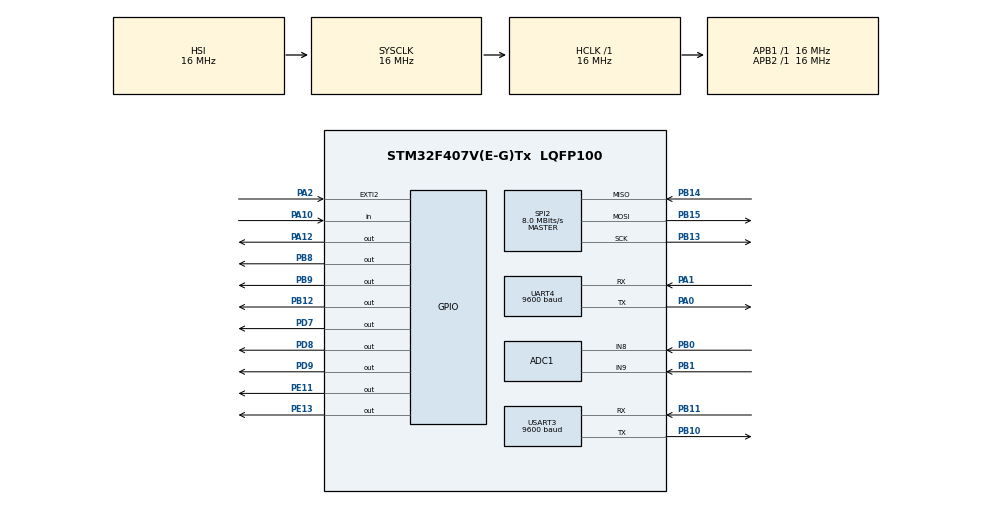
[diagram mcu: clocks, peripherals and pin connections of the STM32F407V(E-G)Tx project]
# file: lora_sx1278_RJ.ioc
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ADC1.Channel-0\#ChannelRegularConversion=ADC_CHANNEL_9
ADC1.NbrOfConversionFlag=1
ADC1.Rank-0\#ChannelRegularConversion=1
ADC1.SamplingTime-0\#ChannelRegularConversion=ADC_SAMPLETIME_480CYCLES
ADC1.ScanConvMode=ENABLE
ADC1.master=1
Dma.Request0=UART4_RX
Dma.UART4_RX.0.Direction=DMA_PERIPH_TO_MEMORY
Dma.UART4_RX.0.FIFOMode=DMA_FIFOMODE_DISABLE
Dma.UART4_RX.0.Instance=DMA1_Stream2
Dma.UART4_RX.0.MemDataAlignment=DMA_MDATAALIGN_BYTE
Dma.UART4_RX.0.MemInc=DMA_MINC_ENABLE
Dma.UART4_RX.0.Mode=DMA_CIRCULAR
Dma.UART4_RX.0.PeriphDataAlignment=DMA_PDATAALIGN_BYTE
Dma.UART4_RX.0.PeriphInc=DMA_PINC_DISABLE
Dma.UART4_RX.0.Priority=DMA_PRIORITY_LOW
Mcu.Family=STM32F4
Mcu.Name=STM32F407V(E-G)Tx
Mcu.Package=LQFP100
NVIC.DMA1_Stream2_IRQn=true\:0\:0\:false\:false\:true\:false\:true\:true
NVIC.EXTI2_IRQn=true\:0\:0\:false\:false\:true\:true\:true\:true
NVIC.PriorityGroup=NVIC_PRIORITYGROUP_4
PA0-WKUP.Mode=Asynchronous
PA0-WKUP.Signal=UART4_TX
PA1.Mode=Asynchronous
PA1.Signal=UART4_RX
PA10.Signal=GPIO_Input
PA12.PinState=GPIO_PIN_SET
PA12.Signal=GPIO_Output
PA2.Signal=GPXTI2
PB0.Signal=ADCx_IN8
PB1.Signal=ADCx_IN9
PB10.Mode=Asynchronous
PB10.Signal=USART3_TX
PB11.Mode=Asynchronous
PB11.Signal=USART3_RX
PB12.GPIO_Speed=GPIO_SPEED_FREQ_VERY_HIGH
PB12.PinState=GPIO_PIN_SET
PB12.Signal=GPIO_Output
PB13.Mode=Full_Duplex_Master
PB13.Signal=SPI2_SCK
PB14.Mode=Full_Duplex_Master
PB14.Signal=SPI2_MISO
PB15.Mode=Full_Duplex_Master
PB15.Signal=SPI2_MOSI
PB8.PinState=GPIO_PIN_SET
PB8.Signal=GPIO_Output
PB9.Signal=GPIO_Output
PD7.Signal=GPIO_Output
PD8.PinState=GPIO_PIN_RESET
PD8.Signal=GPIO_Output
PD9.PinState=GPIO_PIN_RESET
PD9.Signal=GPIO_Output
PE11.PinState=GPIO_PIN_SET
PE11.Signal=GPIO_Output
PE13.Signal=GPIO_Output
ProjectManager.HeapSize=0x200
ProjectManager.StackSize=0x400
ProjectManager.TargetToolchain=STM32CubeIDE
RCC.AHBFreq_Value=16000000
RCC.APB1Freq_Value=16000000
RCC.APB2Freq_Value=16000000
RCC.CortexFreq_Value=16000000
RCC.HSE_VALUE=25000000
RCC.HSI_VALUE=16000000
RCC.LSE_VALUE=32768
RCC.SYSCLKFreq_VALUE=16000000
RCC.VCOOutputFreq_Value=192000000
SH.ADCx_IN8.0=ADC1_IN8,IN8
SH.ADCx_IN9.0=ADC1_IN9,IN9
SPI2.CalculateBaudRate=8.0 MBits/s
SPI2.Direction=SPI_DIRECTION_2LINES
SPI2.Mode=SPI_MODE_MASTER
SPI2.VirtualType=VM_MASTER
UART4.BaudRate=9600
UART4.VirtualMode=Asynchronous
USART3.BaudRate=9600
USART3.VirtualMode=VM_ASYNC
board=custom

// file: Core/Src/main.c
/* USER CODE BEGIN Header */
/**
  ******************************************************************************
  * @file           : main.c
  * @brief          : Main program body
  ******************************************************************************
  * @attention
  *
  * Copyright (c) 2026 STMicroelectronics.
  * All rights reserved.
  *
  * This software is licensed under terms that can be found in the LICENSE file
  * in the root directory of this software component.
  * If no LICENSE file comes with this software, it is provided AS-IS.
  *
  ******************************************************************************
  */
/* USER CODE END Header */
#include "main.h"

/* USER CODE BEGIN Includes */
#include "slave_side.h"
#include "sa818s.h"
#include "gps.h"
#include "slave_battery.h"

/* USER CODE END Includes */

ADC_HandleTypeDef hadc1;

SPI_HandleTypeDef hspi2;

UART_HandleTypeDef huart4;
UART_HandleTypeDef huart3;
DMA_HandleTypeDef hdma_uart4_rx;

void SystemClock_Config(void);
static void MX_GPIO_Init(void);
static void MX_DMA_Init(void);
static void MX_ADC1_Init(void);
static void MX_SPI2_Init(void);
static void MX_UART4_Init(void);
static void MX_USART3_UART_Init(void);

/* USER CODE BEGIN 0 */
uint8_t battery_cached = 50;
uint8_t current_robot_index = 0;
/* USER CODE END 0 */

int main(void)
{

  /* MCU Configuration--------------------------------------------------------*/

  /* Reset of all peripherals, Initializes the Flash interface and the Systick. */
  HAL_Init();

  /* Configure the system clock */
  SystemClock_Config();

  /* Initialize all configured peripherals */
  MX_GPIO_Init();
  MX_DMA_Init();
  MX_ADC1_Init();
  MX_SPI2_Init();
  MX_UART4_Init();
  MX_USART3_UART_Init();
  /* USER CODE BEGIN 2 */
  Slave_Battery_Init(&hadc1);
  Slave_App_Init();
  GPS_Init(&huart4);
  if(SA818_Init(robot_tone) != HAL_OK) { while(1); }
  HAL_Delay(150);
  SA818_SetHighPower();
  /* USER CODE END 2 */

  /* Infinite loop */
  /* USER CODE BEGIN WHILE */
  while (1)
  {
	  Radio_Task();
	  Telemetry_Task();
	  Motor_Task();
	  GPS_DMA_Process();
	  GPS_Process();
	  SA818_Task();
    /* USER CODE END WHILE */

  }
}

void SystemClock_Config(void)
{
  RCC_OscInitTypeDef RCC_OscInitStruct = {0};
  RCC_ClkInitTypeDef RCC_ClkInitStruct = {0};

  /** Configure the main internal regulator output voltage
  */
  __HAL_RCC_PWR_CLK_ENABLE();
  __HAL_PWR_VOLTAGESCALING_CONFIG(PWR_REGULATOR_VOLTAGE_SCALE1);

  /** Initializes the RCC Oscillators according to the specified parameters
  * in the RCC_OscInitTypeDef structure.
  */
  RCC_OscInitStruct.OscillatorType = RCC_OSCILLATORTYPE_HSI;
  RCC_OscInitStruct.HSIState = RCC_HSI_ON;
  RCC_OscInitStruct.HSICalibrationValue = RCC_HSICALIBRATION_DEFAULT;
  RCC_OscInitStruct.PLL.PLLState = RCC_PLL_NONE;
  if (HAL_RCC_OscConfig(&RCC_OscInitStruct) != HAL_OK)
  {
    Error_Handler();
  }

  /** Initializes the CPU, AHB and APB buses clocks
  */
  RCC_ClkInitStruct.ClockType = RCC_CLOCKTYPE_HCLK|RCC_CLOCKTYPE_SYSCLK
                              |RCC_CLOCKTYPE_PCLK1|RCC_CLOCKTYPE_PCLK2;
  RCC_ClkInitStruct.SYSCLKSource = RCC_SYSCLKSOURCE_HSI;
  RCC_ClkInitStruct.AHBCLKDivider = RCC_SYSCLK_DIV1;
  RCC_ClkInitStruct.APB1CLKDivider = RCC_HCLK_DIV1;
  RCC_ClkInitStruct.APB2CLKDivider = RCC_HCLK_DIV1;

  if (HAL_RCC_ClockConfig(&RCC_ClkInitStruct, FLASH_LATENCY_0) != HAL_OK)
  {
    Error_Handler();
  }
}

static void MX_ADC1_Init(void)
{

  ADC_ChannelConfTypeDef sConfig = {0};

  /** Configure the global features of the ADC (Clock, Resolution, Data Alignment and number of conversion)
  */
  hadc1.Instance = ADC1;
  hadc1.Init.ClockPrescaler = ADC_CLOCK_SYNC_PCLK_DIV2;
  hadc1.Init.Resolution = ADC_RESOLUTION_12B;
  hadc1.Init.ScanConvMode = ENABLE;
  hadc1.Init.ContinuousConvMode = DISABLE;
  hadc1.Init.DiscontinuousConvMode = DISABLE;
  hadc1.Init.ExternalTrigConvEdge = ADC_EXTERNALTRIGCONVEDGE_NONE;
  hadc1.Init.ExternalTrigConv = ADC_SOFTWARE_START;
  hadc1.Init.DataAlign = ADC_DATAALIGN_RIGHT;
  hadc1.Init.NbrOfConversion = 1;
  hadc1.Init.DMAContinuousRequests = DISABLE;
  hadc1.Init.EOCSelection = ADC_EOC_SINGLE_CONV;
  if (HAL_ADC_Init(&hadc1) != HAL_OK)
  {
    Error_Handler();
  }

  /** Configure for the selected ADC regular channel its corresponding rank in the sequencer and its sample time.
  */
  sConfig.Channel = ADC_CHANNEL_9;
  sConfig.Rank = 1;
  sConfig.SamplingTime = ADC_SAMPLETIME_480CYCLES;
  if (HAL_ADC_ConfigChannel(&hadc1, &sConfig) != HAL_OK)
  {
    Error_Handler();
  }

}

static void MX_SPI2_Init(void)
{

  /* SPI2 parameter configuration*/
  hspi2.Instance = SPI2;
  hspi2.Init.Mode = SPI_MODE_MASTER;
  hspi2.Init.Direction = SPI_DIRECTION_2LINES;
  hspi2.Init.DataSize = SPI_DATASIZE_8BIT;
  hspi2.Init.CLKPolarity = SPI_POLARITY_LOW;
  hspi2.Init.CLKPhase = SPI_PHASE_1EDGE;
  hspi2.Init.NSS = SPI_NSS_SOFT;
  hspi2.Init.BaudRatePrescaler = SPI_BAUDRATEPRESCALER_2;
  hspi2.Init.FirstBit = SPI_FIRSTBIT_MSB;
  hspi2.Init.TIMode = SPI_TIMODE_DISABLE;
  hspi2.Init.CRCCalculation = SPI_CRCCALCULATION_DISABLE;
  hspi2.Init.CRCPolynomial = 10;
  if (HAL_SPI_Init(&hspi2) != HAL_OK)
  {
    Error_Handler();
  }

}

static void MX_UART4_Init(void)
{

  huart4.Instance = UART4;
  huart4.Init.BaudRate = 9600;
  huart4.Init.WordLength = UART_WORDLENGTH_8B;
  huart4.Init.StopBits = UART_STOPBITS_1;
  huart4.Init.Parity = UART_PARITY_NONE;
  huart4.Init.Mode = UART_MODE_TX_RX;
  huart4.Init.HwFlowCtl = UART_HWCONTROL_NONE;
  huart4.Init.OverSampling = UART_OVERSAMPLING_16;
  if (HAL_UART_Init(&huart4) != HAL_OK)
  {
    Error_Handler();
  }

}

static void MX_USART3_UART_Init(void)
{

  huart3.Instance = USART3;
  huart3.Init.BaudRate = 9600;
  huart3.Init.WordLength = UART_WORDLENGTH_8B;
  huart3.Init.StopBits = UART_STOPBITS_1;
  huart3.Init.Parity = UART_PARITY_NONE;
  huart3.Init.Mode = UART_MODE_TX_RX;
  huart3.Init.HwFlowCtl = UART_HWCONTROL_NONE;
  huart3.Init.OverSampling = UART_OVERSAMPLING_16;
  if (HAL_UART_Init(&huart3) != HAL_OK)
  {
    Error_Handler();
  }

}

static void MX_DMA_Init(void)
{

  /* DMA controller clock enable */
  __HAL_RCC_DMA1_CLK_ENABLE();

  /* DMA interrupt init */
  /* DMA1_Stream2_IRQn interrupt configuration */
  HAL_NVIC_SetPriority(DMA1_Stream2_IRQn, 0, 0);
  HAL_NVIC_EnableIRQ(DMA1_Stream2_IRQn);

}

static void MX_GPIO_Init(void)
{
  GPIO_InitTypeDef GPIO_InitStruct = {0};

  /* GPIO Ports Clock Enable */
  __HAL_RCC_GPIOA_CLK_ENABLE();
  __HAL_RCC_GPIOB_CLK_ENABLE();
  __HAL_RCC_GPIOE_CLK_ENABLE();
  __HAL_RCC_GPIOD_CLK_ENABLE();

  /*Configure GPIO pin Output Level */
  HAL_GPIO_WritePin(GPIOE, GPIO_PIN_11, GPIO_PIN_SET);

  /*Configure GPIO pin Output Level */
  HAL_GPIO_WritePin(GPIOE, GPIO_PIN_13, GPIO_PIN_RESET);

  /*Configure GPIO pin Output Level */
  HAL_GPIO_WritePin(GPIOB, GPIO_PIN_12|GPIO_PIN_8, GPIO_PIN_SET);

  /*Configure GPIO pin Output Level */
  HAL_GPIO_WritePin(GPIOD, GPIO_PIN_8|GPIO_PIN_9|GPIO_PIN_7, GPIO_PIN_RESET);

  /*Configure GPIO pin Output Level */
  HAL_GPIO_WritePin(GPIOA, GPIO_PIN_12, GPIO_PIN_SET);

  /*Configure GPIO pin Output Level */
  HAL_GPIO_WritePin(GPIOB, GPIO_PIN_9, GPIO_PIN_RESET);

  /*Configure GPIO pin : PA2 */
  GPIO_InitStruct.Pin = GPIO_PIN_2;
  GPIO_InitStruct.Mode = GPIO_MODE_IT_RISING;
  GPIO_InitStruct.Pull = GPIO_NOPULL;
  HAL_GPIO_Init(GPIOA, &GPIO_InitStruct);

  /*Configure GPIO pins : PE11 PE13 */
  GPIO_InitStruct.Pin = GPIO_PIN_11|GPIO_PIN_13;
  GPIO_InitStruct.Mode = GPIO_MODE_OUTPUT_PP;
  GPIO_InitStruct.Pull = GPIO_NOPULL;
  GPIO_InitStruct.Speed = GPIO_SPEED_FREQ_LOW;
  HAL_GPIO_Init(GPIOE, &GPIO_InitStruct);

  /*Configure GPIO pin : PB12 */
  GPIO_InitStruct.Pin = GPIO_PIN_12;
  GPIO_InitStruct.Mode = GPIO_MODE_OUTPUT_PP;
  GPIO_InitStruct.Pull = GPIO_NOPULL;
  GPIO_InitStruct.Speed = GPIO_SPEED_FREQ_VERY_HIGH;
  HAL_GPIO_Init(GPIOB, &GPIO_InitStruct);

  /*Configure GPIO pins : PD8 PD9 PD7 */
  GPIO_InitStruct.Pin = GPIO_PIN_8|GPIO_PIN_9|GPIO_PIN_7;
  GPIO_InitStruct.Mode = GPIO_MODE_OUTPUT_PP;
  GPIO_InitStruct.Pull = GPIO_NOPULL;
  GPIO_InitStruct.Speed = GPIO_SPEED_FREQ_LOW;
  HAL_GPIO_Init(GPIOD, &GPIO_InitStruct);

  /*Configure GPIO pin : PA10 */
  GPIO_InitStruct.Pin = GPIO_PIN_10;
  GPIO_InitStruct.Mode = GPIO_MODE_INPUT;
  GPIO_InitStruct.Pull = GPIO_NOPULL;
  HAL_GPIO_Init(GPIOA, &GPIO_InitStruct);

  /*Configure GPIO pin : PA12 */
  GPIO_InitStruct.Pin = GPIO_PIN_12;
  GPIO_InitStruct.Mode = GPIO_MODE_OUTPUT_PP;
  GPIO_InitStruct.Pull = GPIO_NOPULL;
  GPIO_InitStruct.Speed = GPIO_SPEED_FREQ_LOW;
  HAL_GPIO_Init(GPIOA, &GPIO_InitStruct);

  /*Configure GPIO pins : PB8 PB9 */
  GPIO_InitStruct.Pin = GPIO_PIN_8|GPIO_PIN_9;
  GPIO_InitStruct.Mode = GPIO_MODE_OUTPUT_PP;
  GPIO_InitStruct.Pull = GPIO_NOPULL;
  GPIO_InitStruct.Speed = GPIO_SPEED_FREQ_LOW;
  HAL_GPIO_Init(GPIOB, &GPIO_InitStruct);

  /* EXTI interrupt init*/
  HAL_NVIC_SetPriority(EXTI2_IRQn, 0, 0);
  HAL_NVIC_EnableIRQ(EXTI2_IRQn);

}

void Error_Handler(void)
{
  __disable_irq();
  while (1)
  {
  }
}
